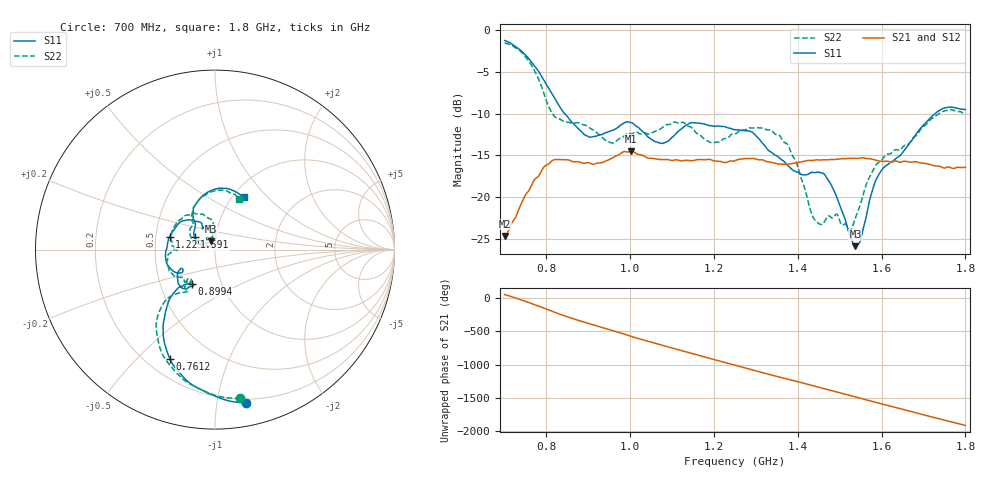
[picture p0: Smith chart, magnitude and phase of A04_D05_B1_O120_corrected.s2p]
! Created with skrf 1.9.0 (http://scikit-rf.org).
# Hz S RI R 50.0
!freq ReS11 ImS11 ReS21 ImS21 ReS12 ImS12 ReS22 ImS22
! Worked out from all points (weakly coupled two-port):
!   1601 points, 700 MHz to 1.8 GHz, reference 50 ohm
!   highest |S21| = -14.50 dB at 1.002 GHz (marker M1); lowest = -24.6 dB at 700.7 MHz (marker M2)
!   lowest |S11| = -25.9 dB at 1.537 GHz (marker M3), VSWR 1.11, Z = 47.5 + j4.31 ohm
!   |S11| at or under -10 dB: 843.5 MHz to 1.727 GHz (883.8 MHz wide, 68.8 % of centre)
!   |S22| runs from -24.0 to -1.5 dB; largest |S21 - S12| = 0.0036
!   S11 on the Smith chart (normalised r, x): 700 MHz: 0.17, -1.21; 761.2 MHz: 0.29, -0.63; 899.4 MHz: 0.72, -0.29; 1.229 GHz: 0.59, +0.09; 1.591 GHz: 0.79, +0.11; 1.8 GHz: 1.13, +0.74
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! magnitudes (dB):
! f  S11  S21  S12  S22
! 700 MHz  -1.2  -24.6  -24.4  -1.5
! 700.7 MHz  -1.2  -24.6  -24.3  -1.5
! 761.2 MHz  -3.6  -18.9  -18.8  -3.9
! 817.6 MHz  -8.0  -15.5  -15.6  -10.2
! 883.6 MHz  -12.2  -15.9  -15.8  -11.3
! 899.4 MHz  -12.7  -15.9  -15.9  -11.6
! 955.1 MHz  -12.0  -15.4  -15.4  -13.5
! 1.002 GHz  -11.1  -14.5  -14.6  -12.4
! 1.067 GHz  -13.5  -15.5  -15.4  -11.9
! 1.145 GHz  -11.1  -15.6  -15.6  -11.6
! 1.229 GHz  -11.6  -15.8  -15.7  -13.0
! 1.25 GHz  -11.9  -15.6  -15.6  -12.4
! 1.357 GHz  -15.3  -16.1  -16.0  -12.6
! 1.396 GHz  -16.9  -15.9  -15.9  -15.7
! 1.434 GHz  -17.0  -15.6  -15.6  -22.1
! 1.476 GHz  -18.2  -15.5  -15.5  -22.3
! 1.524 GHz  -24.6  -15.3  -15.3  -24.0
! 1.537 GHz  -25.9  -15.3  -15.4  -22.5
! 1.591 GHz  -17.5  -15.6  -15.6  -15.9
! 1.617 GHz  -16.0  -15.7  -15.7  -14.8
! 1.734 GHz  -9.7  -16.3  -16.3  -10.1
! 1.8 GHz  -9.5  -16.4  -16.4  -10.0
